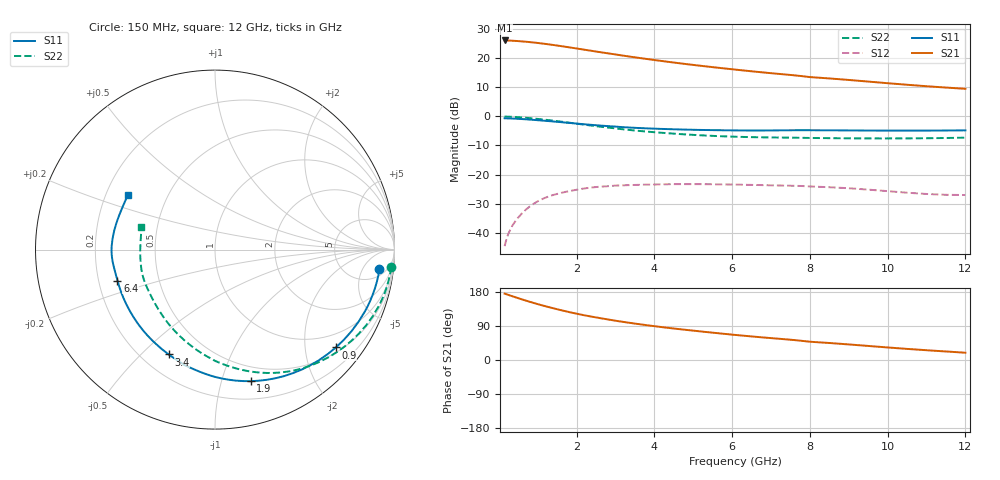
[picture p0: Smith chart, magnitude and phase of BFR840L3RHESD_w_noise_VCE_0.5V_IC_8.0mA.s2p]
! Infineon Technologies  Discrete & RF Semiconductors
! BFR840L3RHESD
! VCE =  0.5 V,  IC =  8.0 mA
! Common Emitter S-Parameters:  Jun 2012
# GHz  S  MA  R  50
!  f  S11  S21  S12  S22
! GHz  MAG  ANG  MAG  ANG  MAG  ANG  MAG  ANG
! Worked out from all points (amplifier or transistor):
!   91 points, 150 MHz to 12 GHz, reference 50 ohm
!   highest |S21| = 26.0 dB at 150 MHz (marker M1)
!   |S21| within 3 dB of that: start of sweep to 2.119 GHz
!   unconditionally stable (mu >= 1): 8.656 GHz to end of sweep
!   at 1.3 GHz: K = 0.12, MSG = 26.1 dB, |S12| = -27.5 dB
!   at 4.3 GHz: K = 0.39, MSG = 21.1 dB, |S12| = -23.3 dB
!   at 12 GHz: K = 2.07, MAG = 12.3 dB, |S12| = -27.0 dB
!   lowest NFmin = 0.61 dB at 450 MHz
!   S11 on the Smith chart (normalised r, x): 150 MHz: 8, -11; 900 MHz: 0.62, -2.70; 1.9 GHz: 0.36, -1.24; 3.4 GHz: 0.31, -0.61; 6.4 GHz: 0.28, -0.14; 12 GHz: 0.29, +0.26
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0.15  0.9227 -6.9  19.99 175.1  0.0059 82.5  0.9868 -5.7
0.3  0.9168 -13.7  19.86 169.9  0.0115 81.2  0.9802 -11.7
0.45  0.9073 -20.3  19.6 164.8  0.0166 76.5  0.9691 -17.5
0.7  0.886 -30.9  19 156.6  0.0251 69.1  0.9419 -26.6
0.9  0.8664 -39.0  18.42 150.5  0.0316 64.1  0.9151 -33.6
1.2  0.8351 -50.5  17.44 141.9  0.0401 57.4  0.8711 -43.6
1.4  0.8137 -57.8  16.73 136.6  0.0446 53.1  0.8405 -49.9
1.6  0.792 -64.8  16 131.5  0.0484 49.0  0.8093 -55.9
1.9  0.7596 -74.8  14.91 124.4  0.0533 43.3  0.7622 -64.3
2.2  0.7292 -83.9  13.88 118.0  0.0577 38.6  0.7169 -72.1
2.8  0.6782 -99.6  12.04 107.1  0.063 29.8  0.6406 -85.8
3.1  0.6566 -107.1  11.22 102.1  0.0649 26.7  0.6072 -92.2
3.4  0.6386 -113.8  10.49 97.6  0.066 23.7  0.5784 -98.1
3.8  0.6202 -121.9  9.627 91.9  0.0671 20.2  0.5461 -105.4
4.2  0.6064 -129.4  8.865 86.7  0.0679 17.3  0.5199 -112.2
5.1  0.5843 -144.5  7.47 76.4  0.0684 11.4  0.4753 -126.4
6.1  0.5719 -158.6  6.303 66.0  0.0672 6.0  0.4453 -140.4
6.4  0.57 -162.4  6.007 63.1  0.0666 4.7  0.4399 -144.4
8  0.5759 178.0  4.702 48.2  0.0625 -1.6  0.4244 -165.2
8.5  0.5739 173.7  4.459 44.9  0.0606 -3.0  0.4211 -169.5
10.5  0.5667 156.9  3.472 29.3  0.0488 -4.0  0.4174 172.8
12  0.5731 148.2  2.959 19.2  0.0445 4.7  0.4295 163.3
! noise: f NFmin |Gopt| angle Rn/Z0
0.45  0.61  0.39  6  0.16
0.9  0.64  0.39  11  0.16
1.9  0.68  0.41  29  0.16
3.5  0.69  0.4  49  0.14
4  0.7  0.4  57  0.14
5.5  0.74  0.4  71  0.13
7  0.81  0.38  91  0.12
8  0.88  0.36  101  0.11
10  0.98  0.34  124  0.1
12  1.13  0.3  153  0.09
